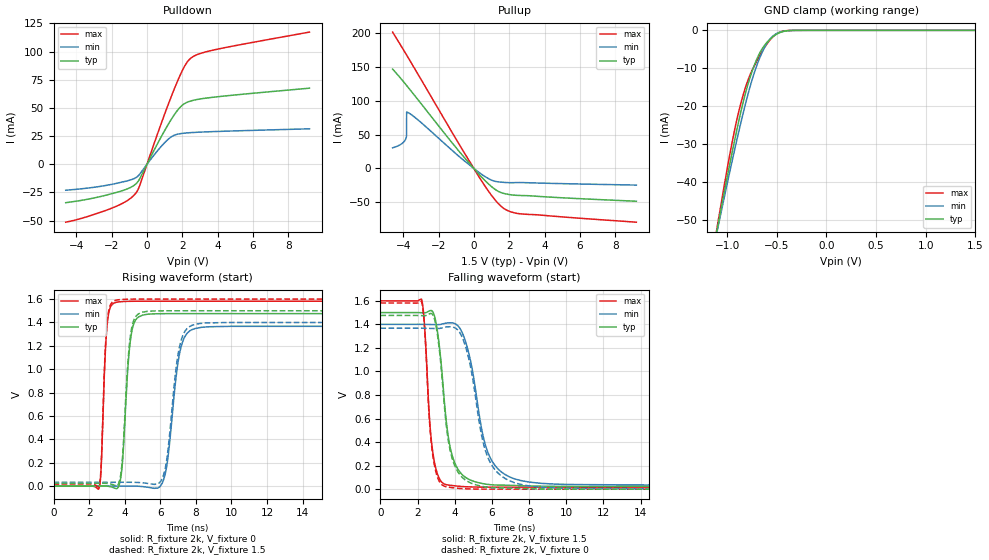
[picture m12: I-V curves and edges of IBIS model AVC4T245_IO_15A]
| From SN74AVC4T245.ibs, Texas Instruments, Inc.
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[Model]   AVC4T245_IO_15A
Model_type  I/O
Vinl=0.49
Vinh=1.04
Enable   Active-Low
Vref =   0
Rref =   2000
Cref =   15p
Vmeas =   0.75
| variable   typ   min   max
C_comp   5.20pF   4.57pF   5.81pF
| C_pullup   5.13pF   3.67pF   7.57pF
| C_pulldown   4.81pF   4.29pF   5.47pF
| C_tri-state   5.20pF   4.57pF   5.81pF
[Temperature Range]   40   100   -40
| Ambient temperature   25   85   -40
[Voltage range]   1.5   1.4   1.6
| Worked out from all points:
|   slope of the pulldown table from 0 to 0.225 V, typ, clamps not added: 32.1 ohm
|   slope of the pullup table from 0 to 0.225 V, typ, clamps not added: 33.9 ohm
|   GND clamp passes 1 mA (typ) near -0.50 V on its own axis
|   rising waveform, R_fixture 2k, V_fixture 0: 20-80 % time 356ps typ, 582ps min, 237ps max; typ from 0 V to 1.48 V
|   falling waveform, R_fixture 2k, V_fixture 1.5: 20-80 % time 628ps typ, 1ns min, 383ps max; typ from 1.5 V to 0.023 V
|   rising waveform, R_fixture 2k, V_fixture 1.5: 20-80 % time 352ps typ, 570ps min, 236ps max; typ from 0.023 V to 1.5 V
|   falling waveform, R_fixture 2k, V_fixture 0: 20-80 % time 629ps typ, 999ps min, 377ps max; typ from 1.48 V to 0 V
[GND Clamp]
| AVC4T245_IO_15A
|   Voltage   I(typ)   I(min)   I(max)
-4.6V     -600.6mA   -549.4mA   -665.2mA
-1.1V     -52.36mA   -52.84mA   -51.77mA
-1.075V   -48.9mA    -49.7mA    -47.87mA
-930mV    -29.64mA   -32.08mA   -26.89mA
-830mV    -18.03mA   -20.88mA   -16.26mA
-765mV    -12.07mA   -14.45mA   -11.48mA
-685mV    -6.658mA   -8.11mA    -7.261mA
-605mV    -3.351mA   -3.683mA   -3.806mA
-535mV    -1.602mA   -1.427mA   -1.608mA
-460mV    -500.6uA   -413.6uA   -383.6uA
-350mV    -38.76uA   -40.6uA    -15.38uA
1.5V      810.6pA    34.45nA    85.67pA
[Pulldown]
| AVC4T245_IO_15A
|   Voltage   I(typ)   I(min)   I(max)
-4.6V     -34.07mA   -23.01mA   -51.35mA
-1.875V   -25.58mA   -17.41mA   -38.17mA
-1.085V   -21.64mA   -14.57mA   -31.92mA
-625mV    -17.31mA   -11.83mA   -25.44mA
-415mV    -12.94mA   -8.777mA   -18.95mA
595mV     18.22mA    11.97mA    26.91mA
1.265V    37.01mA    23.01mA    55.56mA
1.7V      47.29mA    26.56mA    72.61mA
2.03V     52.78mA    27.45mA    84.03mA
2.5V      56.24mA    28.09mA    94.31mA
3.84V     59.63mA    29.04mA    101.6mA
9.2V      67.51mA    31.46mA    117.2mA
[Pullup]
| AVC4T245_IO_15A
|   Voltage   I(typ)   I(min)   I(max)
-4.6V     146.8mA    30.47mA    201.5mA
-4.1V     131.8mA    36.24mA    180.2mA
-3.85V    123.9mA    43.97mA    169.4mA
-3.81V    122.6mA    49.37mA    167.6mA
-3.805V   122.5mA    83.3mA     167.4mA
-3.785V   121.8mA    83.17mA    166.5mA
-3.155V   101.3mA    71.56mA    138.8mA
175mV     -5.197mA   -3.574mA   -7.497mA
980mV     -26.35mA   -16.94mA   -39.04mA
1.625V    -36.35mA   -20.39mA   -57.65mA
2.595V    -39.89mA   -20.78mA   -66.9mA
9.2V      -48.41mA   -24.54mA   -79.36mA
[Ramp]
| AVC4T245_IO_15A
| variable   typ   min   max
dV/dt_r   0.90/3.69E-10   0.83/5.93E-10   0.96/2.51E-10
dV/dt_f   0.90/6.39E-10   0.83/1.01E-09   0.96/3.92E-10
R_load = 2k
[Rising Waveform]
| AVC4T245_IO_15A
R_fixture =   2k
C_fixture =   0
L_fixture =   0
V_fixture =   0
V_fixture_min = 0
V_fixture_max = 0
|   Time   V(typ)   V(min)   V(max)
0s        19.4nV     97.73nV    508.8pV
2.565ns   914.7uV    -147.9uV   -15.62mV
3.005ns   -169.8uV   139.7uV    1.366V
3.505ns   -20.74mV   676.6uV    1.571V
4.365ns   1.294V     539.1uV    1.581V
5.015ns   1.463V     -3.901mV   1.582V
6.19ns    1.475V     56.69mV    1.582V
7.1ns     1.475V     1.147V     1.582V
7.98ns    1.475V     1.349V     1.582V
40ns      1.476V     1.367V     1.582V
[Falling Waveform]
| AVC4T245_IO_15A
R_fixture =   2k
C_fixture =   0
L_fixture =   0
V_fixture =   1.5
V_fixture_min = 1.4
V_fixture_max = 1.6
|   Time   V(typ)   V(min)   V(max)
0s        1.5V       1.4V       1.6V
2.21ns    1.499V     1.4V       1.615V
2.805ns   1.51V      1.398V     329.1mV
3.13ns    1.27V      1.398V     104.1mV
3.55ns    569mV      1.411V     38.42mV
3.92ns    257.3mV    1.411V     29.79mV
4.57ns    101.3mV    1.26V      20.86mV
5.885ns   38.53mV    274.7mV    17.36mV
7.505ns   29.8mV     74.76mV    17.21mV
40ns      23.49mV    32.45mV    17.19mV
[Rising Waveform]
| AVC4T245_IO_15A
R_fixture =   2k
C_fixture =   0
L_fixture =   0
V_fixture =   1.5
V_fixture_min = 1.4
V_fixture_max = 1.6
|   Time   V(typ)   V(min)   V(max)
0s        23.49mV    32.45mV    17.19mV
2.56ns    24.38mV    32.33mV    -42.69uV
3ns       23.3mV     32.62mV    1.382V
3.5ns     3.561mV    33.11mV    1.59V
4.34ns    1.306V     32.84mV    1.599V
5.005ns   1.488V     28.55mV    1.6V
6.175ns   1.5V       91.22mV    1.6V
7.065ns   1.5V       1.182V     1.6V
7.925ns   1.5V       1.382V     1.6V
40ns      1.5V       1.4V       1.6V
[Falling Waveform]
| AVC4T245_IO_15A
R_fixture =   2k
C_fixture =   0
L_fixture =   0
V_fixture =   0
V_fixture_min = 0
V_fixture_max = 0
|   Time   V(typ)   V(min)   V(max)
0s        1.476V     1.367V     1.582V
2.21ns    1.474V     1.367V     1.596V
2.8ns     1.485V     1.365V     308.7mV
3.125ns   1.247V     1.365V     80.73mV
3.53ns    564.1mV    1.377V     21.02mV
3.905ns   239.5mV    1.377V     11.94mV
4.55ns    80.35mV    1.227V     3.348mV
5.84ns    14.95mV    249.3mV    163.7uV
7.505ns   5.782mV    41.92mV    16.31uV
40ns      65.58nV    546.5nV    57.64nV
